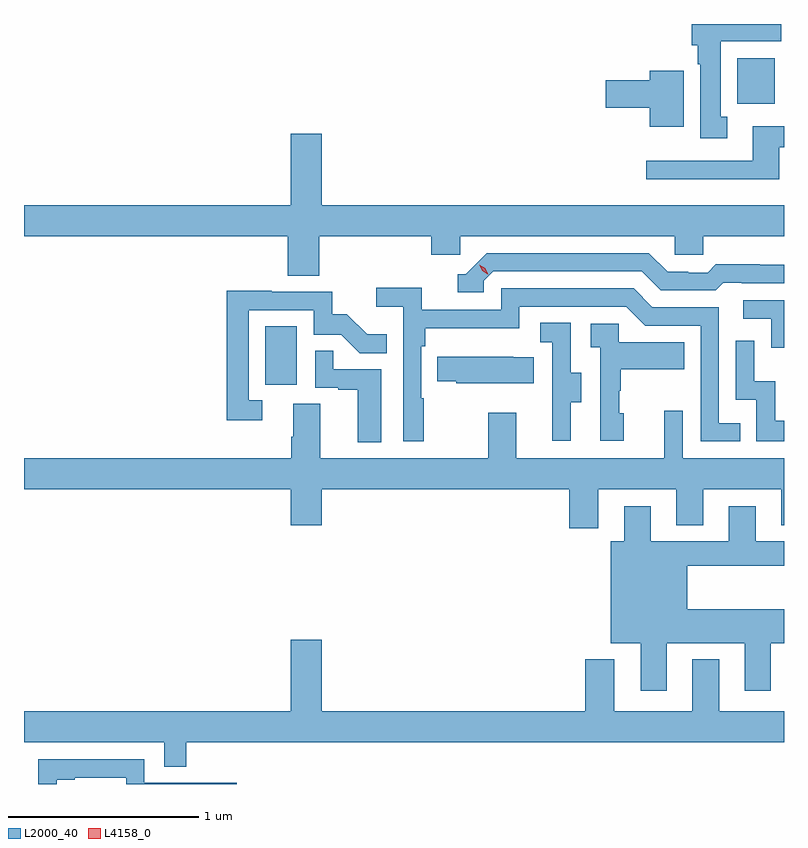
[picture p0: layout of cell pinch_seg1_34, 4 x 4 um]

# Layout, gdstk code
import gdstk
lib = gdstk.Library(unit=1e-6, precision=1e-09)
def R(c, l, rs):  # rectangles x0, y0, x1, y1
    for r in rs: c.add(gdstk.rectangle(r[:2], r[2:], *l))
def P(c, l, *ps):  # polygons
    for p in ps: c.add(gdstk.Polygon(p, *l))
L2000_40 = (2000, 40)
L4158_0 = (4158, 0)

pinch_seg1_34 = lib.new_cell('pinch_seg1_34')
R(pinch_seg1_34, L2000_40, [(1141.898,569.598,1142.062,569.905), (1144.382,571.076,1144.579,571.318)])
P(pinch_seg1_34, L2000_40, [(1144.327,571.01),(1144.294,571.01),(1144.294,571.406),(1144.612,571.406),(1144.612,571.497),(1144.142,571.497),(1144.142,571.386),(1144.172,571.386),(1144.172,571.286),(1144.187,571.286),(1144.187,570.897),(1144.327,570.897)],
  [(1144.099,571.252),(1143.92,571.252),(1143.92,571.202),(1143.69,571.202),(1143.69,571.055),(1143.92,571.055),(1143.92,570.956),(1144.099,570.956)],
  [(1144.603,570.849),(1144.627,570.849),(1144.627,570.958),(1144.463,570.958),(1144.463,570.777),(1143.903,570.777),(1143.903,570.68),(1144.603,570.68)],
  [(1142.18,570.38),(1142.771,570.38),(1142.771,570.282),(1142.922,570.282),(1142.922,570.38),(1144.053,570.38),(1144.053,570.282),(1144.203,570.282),(1144.203,570.38),(1144.627,570.38),(1144.627,570.544),(1142.194,570.544),(1142.194,570.919),(1142.03,570.919),(1142.03,570.544),(1140.627,570.544),(1140.627,570.38),(1142.015,570.38),(1142.015,570.172),(1142.18,570.172)],
  [(1143.048,570.147),(1143.096,570.195),(1143.879,570.195),(1143.978,570.096),(1144.267,570.096),(1144.306,570.135),(1144.405,570.135),(1144.405,570.132),(1144.627,570.132),(1144.627,570.229),(1144.5,570.229),(1144.5,570.232),(1144.267,570.232),(1144.225,570.189),(1144.122,570.189),(1144.122,570.192),(1144.015,570.192),(1143.916,570.291),(1143.063,570.291),(1142.952,570.18),(1142.909,570.18),(1142.909,570.084),(1143.048,570.084)],
  [(1142.731,569.528),(1142.718,569.528),(1142.718,569.801),(1142.738,569.801),(1142.738,569.897),(1143.234,569.897),(1143.234,570.009),(1143.798,570.009),(1143.897,569.91),(1144.188,569.91),(1144.188,569.301),(1144.397,569.301),(1144.397,569.397),(1144.284,569.397),(1144.284,570.006),(1143.934,570.006),(1143.835,570.105),(1143.138,570.105),(1143.138,569.994),(1142.72,569.994),(1142.72,570.11),(1142.481,570.11),(1142.481,570.008),(1142.622,570.008),(1142.622,569.301),(1142.731,569.301)],
  [(1141.882,569.517),(1141.809,569.517),(1141.809,569.991),(1142.151,569.991),(1142.151,569.862),(1142.296,569.862),(1142.394,569.764),(1142.537,569.764),(1142.537,569.863),(1142.433,569.863),(1142.326,569.97),(1142.25,569.97),(1142.25,570.087),(1141.931,570.087),(1141.931,570.092),(1141.693,570.092),(1141.693,569.412),(1141.882,569.412)],
  [(1144.627,570.042),(1144.413,570.042),(1144.413,569.946),(1144.56,569.946),(1144.56,569.793),(1144.627,569.793)],
  [(1143.505,569.506),(1143.559,569.506),(1143.559,569.661),(1143.504,569.661),(1143.504,569.924),(1143.345,569.924),(1143.345,569.821),(1143.408,569.821),(1143.408,569.517),(1143.407,569.517),(1143.407,569.304),(1143.505,569.304)],
  [(1143.784,569.448),(1143.759,569.448),(1143.759,569.567),(1143.769,569.567),(1143.769,569.681),(1144.103,569.681),(1144.103,569.821),(1143.756,569.821),(1143.756,569.919),(1143.609,569.919),(1143.609,569.795),(1143.66,569.795),(1143.66,569.304),(1143.784,569.304)],
  [(1144.627,569.41),(1144.58,569.41),(1144.58,569.618),(1144.47,569.618),(1144.47,569.83),(1144.374,569.83),(1144.374,569.52),(1144.482,569.52),(1144.482,569.301),(1144.627,569.301)],
  [(1142.506,569.679),(1142.255,569.679),(1142.255,569.777),(1142.16,569.777),(1142.16,569.583),(1142.281,569.583),(1142.281,569.571),(1142.384,569.571),(1142.384,569.297),(1142.506,569.297)],
  [(1143.311,569.743),(1143.203,569.743),(1143.203,569.746),(1142.803,569.746),(1142.803,569.617),(1142.901,569.617),(1142.901,569.606),(1143.311,569.606)],
  [(1143.649,569.048),(1144.061,569.048),(1144.061,568.859),(1144.201,568.859),(1144.201,569.048),(1144.613,569.048),(1144.613,568.859),(1144.627,568.859),(1144.627,569.212),(1144.095,569.212),(1144.095,569.461),(1143.998,569.461),(1143.998,569.212),(1143.217,569.212),(1143.217,569.452),(1143.07,569.452),(1143.07,569.212),(1142.185,569.212),(1142.185,569.498),(1142.045,569.498),(1142.045,569.324),(1142.033,569.324),(1142.033,569.212),(1140.627,569.212),(1140.627,569.048),(1142.03,569.048),(1142.03,568.86),(1142.194,568.86),(1142.194,569.048),(1143.497,569.048),(1143.497,568.842),(1143.649,568.842)],
  [(1144.009,568.238),(1144.421,568.238),(1144.421,567.987),(1144.558,567.987),(1144.558,568.238),(1144.627,568.238),(1144.627,568.417),(1144.117,568.417),(1144.117,568.646),(1144.627,568.646),(1144.627,568.774),(1144.477,568.774),(1144.477,568.96),(1144.337,568.96),(1144.337,568.774),(1143.925,568.774),(1143.925,568.96),(1143.785,568.96),(1143.785,568.774),(1143.716,568.774),(1143.716,568.238),(1143.872,568.238),(1143.872,567.987),(1144.009,567.987)],
  [(1141.481,567.716),(1144.627,567.716),(1144.627,567.88),(1144.285,567.88),(1144.285,568.153),(1144.145,568.153),(1144.145,567.88),(1143.733,567.88),(1143.733,568.153),(1143.581,568.153),(1143.581,567.88),(1142.194,567.88),(1142.194,568.255),(1142.03,568.255),(1142.03,567.88),(1140.627,567.88),(1140.627,567.716),(1141.365,567.716),(1141.365,567.589),(1141.481,567.589)],
  [(1140.799,567.519),(1140.895,567.519),(1140.895,567.531),(1141.164,567.531),(1141.164,567.497),(1141.747,567.497),(1141.747,567.504),(1141.26,567.504),(1141.26,567.627),(1140.702,567.627),(1140.702,567.497),(1140.799,567.497)])
P(pinch_seg1_34, L4158_0, [(1143.069,570.179),(1143.039,570.198),(1143.023,570.231),(1143.023,570.231),(1143.023,570.231),(1143.054,570.212),(1143.07,570.179),(1143.07,570.179)])

lib.write_gds('pinch_seg1_34.gds')
